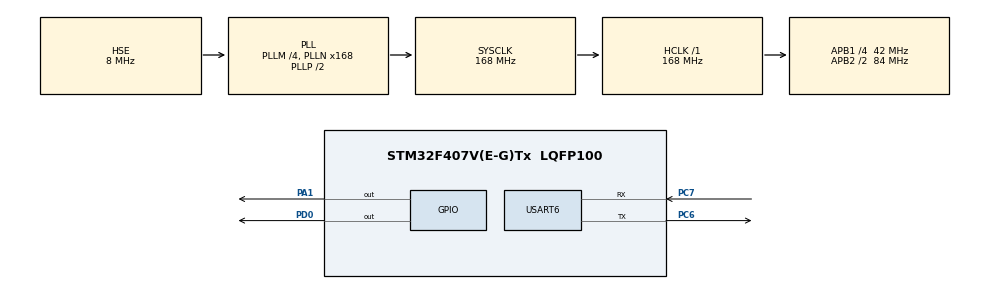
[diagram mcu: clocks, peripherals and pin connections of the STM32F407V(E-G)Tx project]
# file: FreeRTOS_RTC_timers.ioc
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FREERTOS.Tasks01=defaultTask,24,128,StartDefaultTask,Default,NULL,Dynamic,NULL,NULL;my_RTC_Task,8,256,Start_RTC_Task,Default,NULL,Dynamic,NULL,NULL;my_Timers_Task,8,256,Start_Timers_Task,Default,NULL,Dynamic,NULL,NULL
FREERTOS.configUSE_NEWLIB_REENTRANT=1
Mcu.Family=STM32F4
Mcu.Name=STM32F407V(E-G)Tx
Mcu.Package=LQFP100
NVIC.PriorityGroup=NVIC_PRIORITYGROUP_4
NVIC.RTC_Alarm_IRQn=true\:5\:0\:false\:false\:true\:true\:true\:true\:true
NVIC.TIM8_TRG_COM_TIM14_IRQn=true\:15\:0\:false\:false\:true\:false\:false\:true\:true
NVIC.TimeBase=TIM8_TRG_COM_TIM14_IRQn
NVIC.TimeBaseIP=TIM14
PA1.Signal=GPIO_Output
PA13.Mode=Serial_Wire
PA13.Signal=SYS_JTMS-SWDIO
PA14.Mode=Serial_Wire
PA14.Signal=SYS_JTCK-SWCLK
PC14-OSC32_IN.Mode=LSE-External-Oscillator
PC14-OSC32_IN.Signal=RCC_OSC32_IN
PC15-OSC32_OUT.Mode=LSE-External-Oscillator
PC15-OSC32_OUT.Signal=RCC_OSC32_OUT
PC6.Mode=Asynchronous
PC6.Signal=USART6_TX
PC7.Mode=Asynchronous
PC7.Signal=USART6_RX
PD0.Signal=GPIO_Output
PH0-OSC_IN.Mode=HSE-External-Oscillator
PH0-OSC_IN.Signal=RCC_OSC_IN
PH1-OSC_OUT.Mode=HSE-External-Oscillator
PH1-OSC_OUT.Signal=RCC_OSC_OUT
ProjectManager.HeapSize=0x200
ProjectManager.StackSize=0x400
ProjectManager.TargetToolchain=STM32CubeIDE
RCC.48MHZClocksFreq_Value=84000000
RCC.AHBFreq_Value=168000000
RCC.APB1CLKDivider=RCC_HCLK_DIV4
RCC.APB1Freq_Value=42000000
RCC.APB1TimFreq_Value=84000000
RCC.APB2CLKDivider=RCC_HCLK_DIV2
RCC.APB2Freq_Value=84000000
RCC.APB2TimFreq_Value=168000000
RCC.CortexFreq_Value=168000000
RCC.HCLKFreq_Value=168000000
RCC.HSE_VALUE=8000000
RCC.HSI_VALUE=16000000
RCC.PLLM=4
RCC.PLLN=168
RCC.PLLSourceVirtual=RCC_PLLSOURCE_HSE
RCC.RCC_RTC_Clock_Source=RCC_RTCCLKSOURCE_LSE
RCC.RCC_RTC_Clock_SourceVirtual=RCC_RTCCLKSOURCE_LSE
RCC.SYSCLKFreq_VALUE=168000000
RCC.SYSCLKSource=RCC_SYSCLKSOURCE_PLLCLK
RCC.VCOOutputFreq_Value=336000000
RTC.Alarm=RTC_ALARM_A
RTC.AlarmMaskDateWeekDay=RTC_ALARMMASK_DATEWEEKDAY
RTC.Date=8
RTC.Format=RTC_FORMAT_BIN
RTC.Hours=10
RTC.Hours_A=10
RTC.Minutes=15
RTC.Minutes_A=15
RTC.Month=RTC_MONTH_AUGUST
RTC.Seconds_A=7
RTC.Year=22
USART6.VirtualMode=VM_ASYNC
VP_FREERTOS_VS_CMSIS_V2.Mode=CMSIS_V2
VP_RTC_VS_RTC_Activate.Mode=RTC_Enabled
VP_RTC_VS_RTC_Alarm_A_Intern.Mode=Alarm A
VP_RTC_VS_RTC_Calendar.Mode=RTC_Calendar
VP_SYS_VS_tim14.Mode=TIM14
board=custom

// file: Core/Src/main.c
/* USER CODE BEGIN Header */
/**
  ******************************************************************************
  * @file           : main.c
  * @brief          : Main program body
  ******************************************************************************
  * @attention
  *
  * Copyright (c) 2022 STMicroelectronics.
  * All rights reserved.
  *
  * This software is licensed under terms that can be found in the LICENSE file
  * in the root directory of this software component.
  * If no LICENSE file comes with this software, it is provided AS-IS.
  *
  ******************************************************************************
  */
/* USER CODE END Header */
#include "main.h"
#include "cmsis_os.h"

/* USER CODE BEGIN Includes */
#include "stdio.h"
#include "string.h"
#include <time.h>

/* Global vars for timestamp */
#include "stdio.h"
#include "string.h"
#include <time.h>
#include "stdbool.h" // Для flag
unsigned long Previoustime = 0;
const long Interval = 3;

/* Global vars for timestamp */
RTC_TimeTypeDef currentTime;
RTC_DateTypeDef currentDate;
time_t timestamp;
struct tm currTime;

RTC_TimeTypeDef Time1;
RTC_DateTypeDef Date1;
time_t timestamp1;
struct tm stTime1;

RTC_TimeTypeDef Time2;
RTC_DateTypeDef Date2;
time_t timestamp2;
struct tm stTime2;

#include "stdbool.h"
unsigned long S;
/* USER CODE END Includes */

RTC_HandleTypeDef hrtc;

UART_HandleTypeDef huart6;

/* Definitions for defaultTask */
osThreadId_t defaultTaskHandle;
const osThreadAttr_t defaultTask_attributes = {
  .name = "defaultTask",
  .stack_size = 128 * 4,
  .priority = (osPriority_t) osPriorityNormal,
};
/* Definitions for my_RTC_Task */
osThreadId_t my_RTC_TaskHandle;
const osThreadAttr_t my_RTC_Task_attributes = {
  .name = "my_RTC_Task",
  .stack_size = 256 * 4,
  .priority = (osPriority_t) osPriorityLow,
};
/* Definitions for my_Timers_Task */
osThreadId_t my_Timers_TaskHandle;
const osThreadAttr_t my_Timers_Task_attributes = {
  .name = "my_Timers_Task",
  .stack_size = 256 * 4,
  .priority = (osPriority_t) osPriorityLow,
};
/* USER CODE BEGIN PV */
RTC_TimeTypeDef sTime = {0};
RTC_DateTypeDef DateToUpdate = {0};
RTC_AlarmTypeDef sAlarm = {0}; // структура будильника

char trans_str[64] = {0,};
/* USER CODE END PV */

void SystemClock_Config(void);
static void MX_GPIO_Init(void);
static void MX_RTC_Init(void);
static void MX_USART6_UART_Init(void);
void StartDefaultTask(void *argument);
void Start_RTC_Task(void *argument);
void Start_Timers_Task(void *argument);

/* USER CODE BEGIN PFP */
int _write(int file, char *ptr, int len) {
	int i;
	HAL_UART_Transmit(&huart6, (uint8_t*) ptr, len, 50);
	for (i = 0; i < len; i++) {
		ITM_SendChar(*ptr++);
	}
	return len;
}
/* USER CODE END PFP */

/* USER CODE BEGIN 0 */
void print_info (void){

	  	  /*---------------------------------- Get timestamp for currentTime ----------------------------------------*/
	  	  	  HAL_RTC_GetTime(&hrtc, &currentTime, RTC_FORMAT_BIN);
	  	  	  HAL_RTC_GetDate(&hrtc, &currentDate, RTC_FORMAT_BIN);

	  	  	  currTime.tm_year = currentDate.Year + 100;  // In fact: 2000 + 18 - 1900
	  	  	  currTime.tm_mday = currentDate.Date;
	  	  	  currTime.tm_mon  = currentDate.Month - 1;

	  	  	  currTime.tm_hour = currentTime.Hours;
	  	  	  currTime.tm_min  = currentTime.Minutes;
	  	  	  currTime.tm_sec  = currentTime.Seconds;

	  	  	  timestamp = mktime(&currTime);
	  	  	  //printf ( "Current SECONDS: %f\n", timestamp );
	  	  	  printf ( "Current date and time are: %s\n", ctime (&timestamp) ); // Convert time_t value to string

	  	  /*---------------------------------- Get timestamp for Time1 ----------------------------------------*/
	  	  		HAL_RTC_GetTime(&hrtc, &Time1, RTC_FORMAT_BIN);
	  	  		HAL_RTC_GetDate(&hrtc, &Date1, RTC_FORMAT_BIN);

	  	  		stTime1.tm_year = Date1.Year + 100;  // In fact: 2000 + 18 - 1900
	  	  		stTime1.tm_mday = Date1.Date;
	  	  		stTime1.tm_mon = Date1.Month - 1;

	  	  		stTime1.tm_hour = Time1.Hours;
	  	  		stTime1.tm_min = Time1.Minutes;
	  	  		stTime1.tm_sec = Time1.Seconds;

	  	  		timestamp1 = mktime(&stTime1);
	  	  		printf ( "Time1: %s", ctime (&timestamp1) ); // Convert Time1 value to string

	  	  /*---------------------------------- Get timestamp for Time2 ----------------------------------------*/
	  	  		HAL_RTC_GetTime(&hrtc, &Time2, RTC_FORMAT_BIN);
	  	  		HAL_RTC_GetDate(&hrtc, &Date2, RTC_FORMAT_BIN);

	  	  		stTime2.tm_year = Date2.Year + 100;  // In fact: 2000 + 18 - 1900
	  	  		stTime2.tm_mday = Date2.Date;
	  	  		stTime2.tm_mon = Date1.Month - 1;

	  	  		stTime2.tm_hour = Time2.Hours;
	  	  		stTime2.tm_min = Time2.Minutes;
	  	  		stTime2.tm_sec = 3; //Time2.Seconds;

	  	  		timestamp2 = mktime(&stTime2);
	  	  		printf ( "Time2: %s\n", ctime (&timestamp2) ); // Convert Time2 value to string

}
/* USER CODE END 0 */

int main(void)
{

  /* MCU Configuration--------------------------------------------------------*/

  /* Reset of all peripherals, Initializes the Flash interface and the Systick. */
  HAL_Init();

  /* Configure the system clock */
  SystemClock_Config();

  /* Initialize all configured peripherals */
  MX_GPIO_Init();
  MX_RTC_Init();
  MX_USART6_UART_Init();

  /* Init scheduler */
  osKernelInitialize();

  /* Create the thread(s) */
  /* creation of defaultTask */
  defaultTaskHandle = osThreadNew(StartDefaultTask, NULL, &defaultTask_attributes);

  /* creation of my_RTC_Task */
  my_RTC_TaskHandle = osThreadNew(Start_RTC_Task, NULL, &my_RTC_Task_attributes);

  /* creation of my_Timers_Task */
  my_Timers_TaskHandle = osThreadNew(Start_Timers_Task, NULL, &my_Timers_Task_attributes);

  /* Start scheduler */
  osKernelStart();

  /* We should never get here as control is now taken by the scheduler */
  /* Infinite loop */
  while (1)
  {

  }
}

void SystemClock_Config(void)
{
  RCC_OscInitTypeDef RCC_OscInitStruct = {0};
  RCC_ClkInitTypeDef RCC_ClkInitStruct = {0};

  /** Configure the main internal regulator output voltage
  */
  __HAL_RCC_PWR_CLK_ENABLE();
  __HAL_PWR_VOLTAGESCALING_CONFIG(PWR_REGULATOR_VOLTAGE_SCALE1);

  /** Initializes the RCC Oscillators according to the specified parameters
  * in the RCC_OscInitTypeDef structure.
  */
  RCC_OscInitStruct.OscillatorType = RCC_OSCILLATORTYPE_HSE|RCC_OSCILLATORTYPE_LSE;
  RCC_OscInitStruct.HSEState = RCC_HSE_ON;
  RCC_OscInitStruct.LSEState = RCC_LSE_ON;
  RCC_OscInitStruct.PLL.PLLState = RCC_PLL_ON;
  RCC_OscInitStruct.PLL.PLLSource = RCC_PLLSOURCE_HSE;
  RCC_OscInitStruct.PLL.PLLM = 4;
  RCC_OscInitStruct.PLL.PLLN = 168;
  RCC_OscInitStruct.PLL.PLLP = RCC_PLLP_DIV2;
  RCC_OscInitStruct.PLL.PLLQ = 4;
  if (HAL_RCC_OscConfig(&RCC_OscInitStruct) != HAL_OK)
  {
    Error_Handler();
  }

  /** Initializes the CPU, AHB and APB buses clocks
  */
  RCC_ClkInitStruct.ClockType = RCC_CLOCKTYPE_HCLK|RCC_CLOCKTYPE_SYSCLK
                              |RCC_CLOCKTYPE_PCLK1|RCC_CLOCKTYPE_PCLK2;
  RCC_ClkInitStruct.SYSCLKSource = RCC_SYSCLKSOURCE_PLLCLK;
  RCC_ClkInitStruct.AHBCLKDivider = RCC_SYSCLK_DIV1;
  RCC_ClkInitStruct.APB1CLKDivider = RCC_HCLK_DIV4;
  RCC_ClkInitStruct.APB2CLKDivider = RCC_HCLK_DIV2;

  if (HAL_RCC_ClockConfig(&RCC_ClkInitStruct, FLASH_LATENCY_5) != HAL_OK)
  {
    Error_Handler();
  }
}

static void MX_RTC_Init(void)
{

  RTC_TimeTypeDef sTime = {0};
  RTC_DateTypeDef sDate = {0};
  RTC_AlarmTypeDef sAlarm = {0};

  /** Initialize RTC Only
  */
  hrtc.Instance = RTC;
  hrtc.Init.HourFormat = RTC_HOURFORMAT_24;
  hrtc.Init.AsynchPrediv = 127;
  hrtc.Init.SynchPrediv = 255;
  hrtc.Init.OutPut = RTC_OUTPUT_DISABLE;
  hrtc.Init.OutPutPolarity = RTC_OUTPUT_POLARITY_HIGH;
  hrtc.Init.OutPutType = RTC_OUTPUT_TYPE_OPENDRAIN;
  if (HAL_RTC_Init(&hrtc) != HAL_OK)
  {
    Error_Handler();
  }

  /** Initialize RTC and set the Time and Date
  */
  sTime.Hours = 10;
  sTime.Minutes = 15;
  sTime.Seconds = 0;
  sTime.DayLightSaving = RTC_DAYLIGHTSAVING_NONE;
  sTime.StoreOperation = RTC_STOREOPERATION_RESET;
  if (HAL_RTC_SetTime(&hrtc, &sTime, RTC_FORMAT_BIN) != HAL_OK)
  {
    Error_Handler();
  }
  sDate.WeekDay = RTC_WEEKDAY_MONDAY;
  sDate.Month = RTC_MONTH_AUGUST;
  sDate.Date = 8;
  sDate.Year = 22;

  if (HAL_RTC_SetDate(&hrtc, &sDate, RTC_FORMAT_BIN) != HAL_OK)
  {
    Error_Handler();
  }

  /** Enable the Alarm A
  */
  sAlarm.AlarmTime.Hours = 10;
  sAlarm.AlarmTime.Minutes = 15;
  sAlarm.AlarmTime.Seconds = 7;
  sAlarm.AlarmTime.SubSeconds = 0;
  sAlarm.AlarmTime.DayLightSaving = RTC_DAYLIGHTSAVING_NONE;
  sAlarm.AlarmTime.StoreOperation = RTC_STOREOPERATION_RESET;
  sAlarm.AlarmMask = RTC_ALARMMASK_DATEWEEKDAY;
  sAlarm.AlarmSubSecondMask = RTC_ALARMSUBSECONDMASK_ALL;
  sAlarm.AlarmDateWeekDaySel = RTC_ALARMDATEWEEKDAYSEL_DATE;
  sAlarm.AlarmDateWeekDay = 1;
  sAlarm.Alarm = RTC_ALARM_A;
  if (HAL_RTC_SetAlarm_IT(&hrtc, &sAlarm, RTC_FORMAT_BIN) != HAL_OK)
  {
    Error_Handler();
  }

}

static void MX_USART6_UART_Init(void)
{

  huart6.Instance = USART6;
  huart6.Init.BaudRate = 115200;
  huart6.Init.WordLength = UART_WORDLENGTH_8B;
  huart6.Init.StopBits = UART_STOPBITS_1;
  huart6.Init.Parity = UART_PARITY_NONE;
  huart6.Init.Mode = UART_MODE_TX_RX;
  huart6.Init.HwFlowCtl = UART_HWCONTROL_NONE;
  huart6.Init.OverSampling = UART_OVERSAMPLING_16;
  if (HAL_UART_Init(&huart6) != HAL_OK)
  {
    Error_Handler();
  }

}

static void MX_GPIO_Init(void)
{
  GPIO_InitTypeDef GPIO_InitStruct = {0};

  /* GPIO Ports Clock Enable */
  __HAL_RCC_GPIOC_CLK_ENABLE();
  __HAL_RCC_GPIOH_CLK_ENABLE();
  __HAL_RCC_GPIOA_CLK_ENABLE();
  __HAL_RCC_GPIOD_CLK_ENABLE();

  /*Configure GPIO pin Output Level */
  HAL_GPIO_WritePin(GPIOA, GPIO_PIN_1, GPIO_PIN_RESET);

  /*Configure GPIO pin Output Level */
  HAL_GPIO_WritePin(GPIOD, GPIO_PIN_0, GPIO_PIN_RESET);

  /*Configure GPIO pin : PA1 */
  GPIO_InitStruct.Pin = GPIO_PIN_1;
  GPIO_InitStruct.Mode = GPIO_MODE_OUTPUT_PP;
  GPIO_InitStruct.Pull = GPIO_NOPULL;
  GPIO_InitStruct.Speed = GPIO_SPEED_FREQ_LOW;
  HAL_GPIO_Init(GPIOA, &GPIO_InitStruct);

  /*Configure GPIO pin : PD0 */
  GPIO_InitStruct.Pin = GPIO_PIN_0;
  GPIO_InitStruct.Mode = GPIO_MODE_OUTPUT_PP;
  GPIO_InitStruct.Pull = GPIO_NOPULL;
  GPIO_InitStruct.Speed = GPIO_SPEED_FREQ_LOW;
  HAL_GPIO_Init(GPIOD, &GPIO_InitStruct);

}

/* USER CODE BEGIN 4 */
void HAL_RTC_AlarmAEventCallback(RTC_HandleTypeDef *hrtc)
{
        snprintf(trans_str, 63, "++++++++++ Alarm_A +++++++++\n");
        HAL_UART_Transmit(&huart6, (uint8_t*)trans_str, strlen(trans_str), 1000);
        HAL_GPIO_WritePin(GPIOD, GPIO_PIN_0,GPIO_PIN_SET);
        HAL_GPIO_WritePin(GPIOA, GPIO_PIN_1,GPIO_PIN_SET);
}
/* USER CODE END 4 */

void StartDefaultTask(void *argument)
{
  for(;;)
  {
    osDelay(1);
  }
}

void Start_RTC_Task(void *argument)
{
  /* USER CODE BEGIN Start_RTC_Task */
  /* Infinite loop */
  for(;;)
  {
      HAL_RTC_GetTime(&hrtc, &sTime, RTC_FORMAT_BIN); // RTC_FORMAT_BIN , RTC_FORMAT_BCD
      snprintf(trans_str, 63, "Curent time is %d:%d:%d\n", sTime.Hours, sTime.Minutes, sTime.Seconds);
      //snprintf(trans_str, 63, "Time %d:%d:%d:%lu\n", sTime.Hours, sTime.Minutes, sTime.Seconds, sTime.SubSeconds);
      HAL_UART_Transmit(&huart6, (uint8_t*)trans_str, strlen(trans_str), 1000);

      HAL_RTC_GetDate(&hrtc, &DateToUpdate, RTC_FORMAT_BIN);
      snprintf(trans_str, 63, "Date %d-%d-20%d\n", DateToUpdate.Date, DateToUpdate.Month, DateToUpdate.Year);
      HAL_UART_Transmit(&huart6, (uint8_t*)trans_str, strlen(trans_str), 1000);

      HAL_RTC_GetAlarm(&hrtc, &sAlarm, RTC_ALARM_A, RTC_FORMAT_BIN);
      snprintf(trans_str, 63, "Settings of alarm %d:%d:%d\n", sAlarm.AlarmTime.Hours, sAlarm.AlarmTime.Minutes, sAlarm.AlarmTime.Seconds);
      HAL_UART_Transmit(&huart6, (uint8_t*)trans_str, strlen(trans_str), 1000);

    osDelay(1000);
  }
  /* USER CODE END Start_RTC_Task */
}

void Start_Timers_Task(void *argument)
{
  /* USER CODE BEGIN Start_Timers_Task */
  /* Infinite loop */

	for (;;) {
/*---------------------------- Get UNIX timestamp from RTC --------------------------------*/
		HAL_RTC_GetTime(&hrtc, &currentTime, RTC_FORMAT_BIN);
		HAL_RTC_GetDate(&hrtc, &currentDate, RTC_FORMAT_BIN);

		currTime.tm_year = currentDate.Year + 100;  // In fact: 2000 + 18 - 1900
		currTime.tm_mday = currentDate.Date;
		currTime.tm_mon = currentDate.Month - 1;

		currTime.tm_hour = currentTime.Hours;
		currTime.tm_min = currentTime.Minutes;
		currTime.tm_sec = currentTime.Seconds;

		timestamp = mktime(&currTime);
		//printf ( "Current SECONDS: %f\n", timestamp );
		//printf ( "Current date and time are: %s\n", ctime (&timestamp) ); // Convert time_t value to string

/*---------------------------------- Get timestamp for Time1 ----------------------------------------*/
		HAL_RTC_GetTime(&hrtc, &Time1, RTC_FORMAT_BIN);
		HAL_RTC_GetDate(&hrtc, &Date1, RTC_FORMAT_BIN);

		stTime1.tm_year = Date1.Year + 100;  // In fact: 2000 + 18 - 1900
		stTime1.tm_mday = Date1.Date;
		stTime1.tm_mon = Date1.Month - 1;

		stTime1.tm_hour = Time1.Hours;
		stTime1.tm_min = Time1.Minutes;
		stTime1.tm_sec = Time1.Seconds;

		timestamp1 = mktime(&stTime1);
		//printf("Time1: %s", ctime(&timestamp1)); // Convert Time1 value to string

/*---------------------------------- Get timestamp for Time2 ----------------------------------------*/
		HAL_RTC_GetTime(&hrtc, &Time2, RTC_FORMAT_BIN);
		HAL_RTC_GetDate(&hrtc, &Date2, RTC_FORMAT_BIN);

		stTime2.tm_year = Date2.Year + 100;  // In fact: 2000 + 18 - 1900
		stTime2.tm_mday = Date2.Date;
		stTime2.tm_mon = Date1.Month - 1;

		stTime2.tm_hour = Time2.Hours;
		stTime2.tm_min = Time2.Minutes;
		stTime2.tm_sec = 10; //Time2.Seconds;

		timestamp2 = mktime(&stTime2);
		//printf("Time2: %s\n", ctime(&timestamp2)); // Convert Time2 value to string

		double interval = difftime(timestamp, timestamp2);

		if(interval == 0.00){
		printf("Srabotal timer! \n");
		}
/*---------------------------------- Toggle timer ----------------------------------------*/
		unsigned long currentTime = timestamp;

		if (currentTime - Previoustime >= Interval) {  // Переключаем согласно "Interval".
			Previoustime = currentTime;
			GPIOA->ODR ^= GPIO_PIN_1; // toggle PA1
			GPIOD->ODR ^= GPIO_PIN_0; // toggle PD0
		}

//		osDelay(1000);
	}
	/* USER CODE END Start_Timers_Task */
}

void HAL_TIM_PeriodElapsedCallback(TIM_HandleTypeDef *htim)
{
  if (htim->Instance == TIM14) {
    HAL_IncTick();
  }
}

void Error_Handler(void)
{
  __disable_irq();
  while (1)
  {
  }
}
